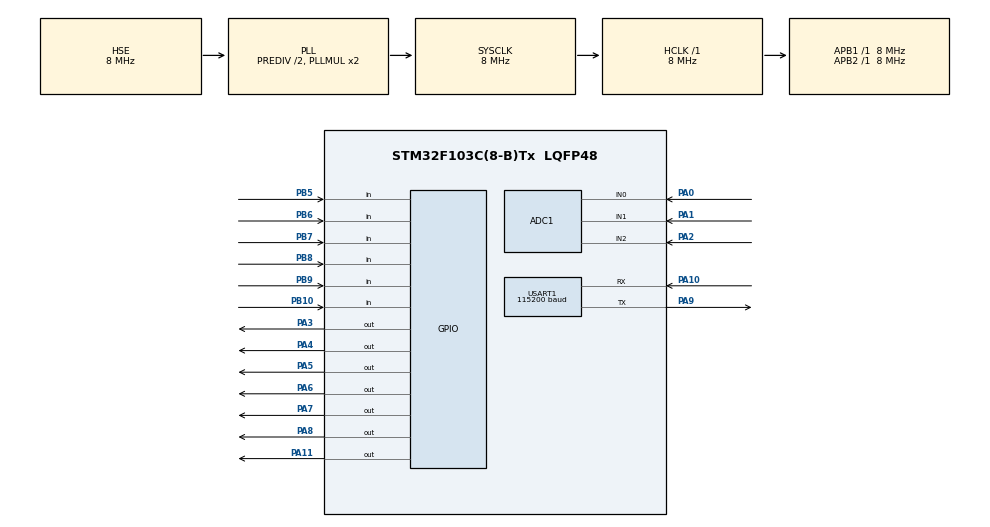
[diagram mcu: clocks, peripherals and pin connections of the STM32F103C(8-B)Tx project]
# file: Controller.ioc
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ADC1.Channel-0\#ChannelRegularConversion=ADC_CHANNEL_0
ADC1.Channel-1\#ChannelRegularConversion=ADC_CHANNEL_1
ADC1.Channel-2\#ChannelRegularConversion=ADC_CHANNEL_2
ADC1.ContinuousConvMode=ENABLE
ADC1.DataAlign=ADC_DATAALIGN_RIGHT
ADC1.DiscontinuousConvMode=DISABLE
ADC1.EnableAnalogWatchDog=false
ADC1.EnableRegularConversion=ENABLE
ADC1.ExternalTrigConv=ADC_SOFTWARE_START
ADC1.InjNumberOfConversion=0
ADC1.NbrOfConversion=3
ADC1.NbrOfConversionFlag=1
ADC1.Rank-0\#ChannelRegularConversion=1
ADC1.Rank-1\#ChannelRegularConversion=2
ADC1.Rank-2\#ChannelRegularConversion=3
ADC1.SamplingTime-0\#ChannelRegularConversion=ADC_SAMPLETIME_239CYCLES_5
ADC1.SamplingTime-1\#ChannelRegularConversion=ADC_SAMPLETIME_239CYCLES_5
ADC1.SamplingTime-2\#ChannelRegularConversion=ADC_SAMPLETIME_239CYCLES_5
ADC1.ScanConvMode=ADC_SCAN_ENABLE
ADC1.master=1
Dma.ADC1.0.Direction=DMA_PERIPH_TO_MEMORY
Dma.ADC1.0.Instance=DMA1_Channel1
Dma.ADC1.0.MemDataAlignment=DMA_MDATAALIGN_WORD
Dma.ADC1.0.MemInc=DMA_MINC_ENABLE
Dma.ADC1.0.Mode=DMA_CIRCULAR
Dma.ADC1.0.PeriphDataAlignment=DMA_PDATAALIGN_WORD
Dma.ADC1.0.PeriphInc=DMA_PINC_DISABLE
Dma.ADC1.0.Priority=DMA_PRIORITY_LOW
Dma.Request0=ADC1
Dma.Request1=USART1_RX
Dma.USART1_RX.1.Direction=DMA_PERIPH_TO_MEMORY
Dma.USART1_RX.1.Instance=DMA1_Channel5
Dma.USART1_RX.1.MemDataAlignment=DMA_MDATAALIGN_BYTE
Dma.USART1_RX.1.MemInc=DMA_MINC_ENABLE
Dma.USART1_RX.1.Mode=DMA_NORMAL
Dma.USART1_RX.1.PeriphDataAlignment=DMA_PDATAALIGN_BYTE
Dma.USART1_RX.1.PeriphInc=DMA_PINC_DISABLE
Dma.USART1_RX.1.Priority=DMA_PRIORITY_LOW
Mcu.Family=STM32F1
Mcu.Name=STM32F103C(8-B)Tx
Mcu.Package=LQFP48
NVIC.ADC1_2_IRQn=true\:0\:0\:false\:false\:true\:true
NVIC.DMA1_Channel1_IRQn=true\:0\:0\:false\:false\:true\:false
NVIC.DMA1_Channel5_IRQn=true\:0\:0\:false\:false\:true\:false
NVIC.PriorityGroup=NVIC_PRIORITYGROUP_4
NVIC.TIM2_IRQn=true\:0\:0\:false\:false\:true\:true
NVIC.USART1_IRQn=true\:0\:0\:false\:false\:true\:true
PA0-WKUP.Signal=ADCx_IN0
PA1.Signal=ADCx_IN1
PA10.Mode=Asynchronous
PA10.Signal=USART1_RX
PA11.Signal=GPIO_Output
PA13.Mode=JTAG_5_pins
PA13.Signal=SYS_JTMS-SWDIO
PA14.Mode=JTAG_5_pins
PA14.Signal=SYS_JTCK-SWCLK
PA15.Mode=JTAG_5_pins
PA15.Signal=SYS_JTDI
PA2.Signal=ADCx_IN2
PA3.Signal=GPIO_Output
PA4.Signal=GPIO_Output
PA5.Signal=GPIO_Output
PA6.Signal=GPIO_Output
PA7.Signal=GPIO_Output
PA8.Signal=GPIO_Output
PA9.Mode=Asynchronous
PA9.Signal=USART1_TX
PB10.Signal=GPIO_Input
PB3.Mode=JTAG_5_pins
PB3.Signal=SYS_JTDO-TRACESWO
PB4.Mode=JTAG_5_pins
PB4.Signal=SYS_NJTRST
PB5.Signal=GPIO_Input
PB6.Signal=GPIO_Input
PB7.Signal=GPIO_Input
PB8.Signal=GPIO_Input
PB9.Signal=GPIO_Input
PD0-OSC_IN.Mode=HSE-External-Oscillator
PD0-OSC_IN.Signal=RCC_OSC_IN
PD1-OSC_OUT.Mode=HSE-External-Oscillator
PD1-OSC_OUT.Signal=RCC_OSC_OUT
ProjectManager.HeapSize=0x200
ProjectManager.StackSize=0x400
ProjectManager.TargetToolchain=MDK-ARM V5
RCC.ADCPresc=RCC_ADCPCLK2_DIV6
RCC.AHBFreq_Value=8000000
RCC.APB1Freq_Value=8000000
RCC.APB1TimFreq_Value=8000000
RCC.APB2Freq_Value=8000000
RCC.APB2TimFreq_Value=8000000
RCC.HCLKFreq_Value=8000000
RCC.HSEDivPLL=RCC_HSE_PREDIV_DIV2
RCC.PLLSourceVirtual=RCC_PLLSOURCE_HSE
RCC.SYSCLKFreq_VALUE=8000000
RCC.SYSCLKSource=RCC_SYSCLKSOURCE_PLLCLK
RCC.USBFreq_Value=8000000
SH.ADCx_IN0.0=ADC1_IN0,IN0
SH.ADCx_IN1.0=ADC1_IN1,IN1
SH.ADCx_IN2.0=ADC1_IN2,IN2
TIM2.AutoReloadPreload=TIM_AUTORELOAD_PRELOAD_ENABLE
TIM2.Period=2828
TIM2.Prescaler=2828
USART1.BaudRate=115200
USART1.VirtualMode=VM_ASYNC
VP_TIM2_VS_ClockSourceINT.Mode=Internal
board=Controller

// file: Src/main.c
/**
  ******************************************************************************
  * File Name          : main.c
  * Description        : Main program body
  ******************************************************************************
  ** This notice applies to any and all portions of this file
  * that are not between comment pairs USER CODE BEGIN and
  * USER CODE END. Other portions of this file, whether
  * inserted by the user or by software development tools
  * are owned by their respective copyright owners.
  *
  * COPYRIGHT(c) 2017 STMicroelectronics
  *
  * Redistribution and use in source and binary forms, with or without modification,
  * are permitted provided that the following conditions are met:
  *   1. Redistributions of source code must retain the above copyright notice,
  *      this list of conditions and the following disclaimer.
  *   2. Redistributions in binary form must reproduce the above copyright notice,
  *      this list of conditions and the following disclaimer in the documentation
  *      and/or other materials provided with the distribution.
  *   3. Neither the name of STMicroelectronics nor the names of its contributors
  *      may be used to endorse or promote products derived from this software
  *      without specific prior written permission.
  *
  * THIS SOFTWARE IS PROVIDED BY THE COPYRIGHT HOLDERS AND CONTRIBUTORS "AS IS"
  * AND ANY EXPRESS OR IMPLIED WARRANTIES, INCLUDING, BUT NOT LIMITED TO, THE
  * IMPLIED WARRANTIES OF MERCHANTABILITY AND FITNESS FOR A PARTICULAR PURPOSE ARE
  * DISCLAIMED. IN NO EVENT SHALL THE COPYRIGHT HOLDER OR CONTRIBUTORS BE LIABLE
  * FOR ANY DIRECT, INDIRECT, INCIDENTAL, SPECIAL, EXEMPLARY, OR CONSEQUENTIAL
  * DAMAGES (INCLUDING, BUT NOT LIMITED TO, PROCUREMENT OF SUBSTITUTE GOODS OR
  * SERVICES; LOSS OF USE, DATA, OR PROFITS; OR BUSINESS INTERRUPTION) HOWEVER
  * CAUSED AND ON ANY THEORY OF LIABILITY, WHETHER IN CONTRACT, STRICT LIABILITY,
  * OR TORT (INCLUDING NEGLIGENCE OR OTHERWISE) ARISING IN ANY WAY OUT OF THE USE
  * OF THIS SOFTWARE, EVEN IF ADVISED OF THE POSSIBILITY OF SUCH DAMAGE.
  *
  ******************************************************************************
  */
#include "main.h"
#include "stm32f1xx_hal.h"

/* USER CODE BEGIN Includes */
#include <stdio.h>
#include <string.h>
#include <stdlib.h>
#include <math.h>
/* USER CODE END Includes */

ADC_HandleTypeDef hadc1;
DMA_HandleTypeDef hdma_adc1;

TIM_HandleTypeDef htim2;

UART_HandleTypeDef huart1;
DMA_HandleTypeDef hdma_usart1_rx;

/* USER CODE BEGIN PV */
/* Private variables ---------------------------------------------------------*/
uint32_t sec_TICK;

Status_HandleTypeDef IO_Status;
timCNT_HandleTypeDef CNT;
Temp_HandleTypeDef Temp;
CNT_Sta_HandleTypeDef
									fan_CNT_Sta,
									tube_CNT_Sta,

									defrost_cyc_CNT_Sta,
									defrost_CNT_Sta,

									drip_CNT_Sta,

									house_temp_H_CNT_Sta,
									house_temp_L_CNT_Sta,

									refri_temp_H_CNT_Sta,
									refri_temp_L_CNT_Sta,

									door_open_del_CNT_Sta,

                  Alarm_Blind_CNT_Sta,

                  SRP_Routine_Sta,
                  Boot_CNT_Sta,
                  Tick_CNT_Sta;

Alarm_Blind_HandleTypeDef CMP;
NTC_HandleTypeDef NTC;

char
      ___house_temp[5],
      ___house_temp_error[5],
      ___house_ALARM_OT_temp[5],
      ___house_ALARM_LT_temp[5],
      ___house_ALARM_OT_temp_delay[5],
      ___house_ALARM_LT_temp_delay[5],
      ___refri_temp[5],
      ___refri_temp_error[5],
      ___refri_ALARM_OT_temp[5],
      ___refri_ALARM_LT_temp[5],
      ___refri_ALARM_OT_temp_delay[5],
      ___refri_ALARM_LT_temp_delay[5],
      ___defrost_cyc[5],
      ___defrost_timer[5],
      ___defrost_temp[5],
      ___refrez_fan_temp[5],
      ___fan_cooling_time[5],
      ___drip_time[5],
      ___tube_cooling_time[5],
      ___boot_delay[5],
      ___door_delay[5],
      ___Beta_of_NTC[5],
      ___EVP_Temp_offset[5],
      ___House_Temp_offset[5],
      ___Refri_Temp_offset[5],
      ___EVP_Percent_offset[5],
      ___House_Percent_offset[5],
      ___Refri_Percent_offset[5];

uint8_t House_Temp_Alarm_Sta;
uint8_t Refri_Temp_Alarm_Sta;

uint16_t tick;
uint32_t ADC_Buf[6];  //For ADC DMA

unsigned char _null[3]={255,255,255};
unsigned char req_message[10]="rept 0,420";

#define cmd_end HAL_UART_Transmit(&huart1, _null, 3, 0xff)
#define cmd_all_rept HAL_UART_Transmit(&huart1, req_message, 10, 0xff)
/* USER CODE END PV */

void SystemClock_Config(void);
static void MX_GPIO_Init(void);
static void MX_DMA_Init(void);
static void MX_USART1_UART_Init(void);
static void MX_ADC1_Init(void);
static void MX_TIM2_Init(void);

/* USER CODE BEGIN PFP */
/* Private function prototypes -----------------------------------------------*/
void ADC_Read_Data(void);
void Temp_Alarm_CHK_Routine(void);
void IO_CHK_Routine(void);
void CMP_CHK_Routine(void); //Always run after "IO_CHK_Routine()"
void Alarm_CHK_Routine(void);
void Refri_CHK_Routine(void);
void SRP_CHK_Routine(void);
void Get_Data(uint16_t addr);
void UART_Get_All(void);
void UART_Send_Data(void);
/* USER CODE END PFP */

int main(void)
{

  /* MCU Configuration----------------------------------------------------------*/

  /* Reset of all peripherals, Initializes the Flash interface and the Systick. */
  HAL_Init();

  /* Configure the system clock */
  SystemClock_Config();

  /* Initialize all configured peripherals */
  MX_GPIO_Init();
  MX_DMA_Init();
  MX_USART1_UART_Init();
  MX_ADC1_Init();
  MX_TIM2_Init();

  /* USER CODE BEGIN 2 */
  Boot_CNT_Sta=idle;
  door_open_del_CNT_Sta=idle;
  SRP_Routine_Sta=idle; //Reset SRP switch
	fan_CNT_Sta=idle;
  defrost_cyc_CNT_Sta=idle;
  defrost_CNT_Sta=idle;
  drip_CNT_Sta=idle;
	tube_CNT_Sta=idle;
  Alarm_Blind_CNT_Sta=idle;
  house_temp_H_CNT_Sta=idle;
  house_temp_L_CNT_Sta=idle;
  refri_temp_H_CNT_Sta=idle;
  refri_temp_L_CNT_Sta=idle;
  Tick_CNT_Sta=idle;
  CMP._cmpsta=off;
  House_Temp_Alarm_Sta=Not_Trig;
  House_Temp_Alarm_Sta=Not_Trig;
  /****************Reserved for boot delay**********************/
  HAL_TIM_Base_Start_IT(&htim2);
	UART_Get_All();
  Get_Data(boot_delay);
  if(CNT.boot_del_CNT_TRIG!=0){
    Boot_CNT_Sta=running;
    while(Boot_CNT_Sta==running){
      HAL_Delay(10);
      ;
    }
  }
  UART_Get_All();
  Tick_CNT_Sta=running;
  /* USER CODE END 2 */

  /* Infinite loop */
  while (1)
  {

  /* USER CODE BEGIN 3 */
    if(Tick_CNT_Sta==End_Once){
      UART_Get_All();
      Tick_CNT_Sta=running;
			UART_Send_Data();
    }
    ADC_Read_Data();
    IO_CHK_Routine();       //DO NOT EDIT
    Temp_Alarm_CHK_Routine();
    CMP_CHK_Routine();
    Refri_CHK_Routine();
    SRP_CHK_Routine();
		Alarm_CHK_Routine();
	}

  /* USER CODE END 3 */

}

/** System Clock Configuration
*/
void SystemClock_Config(void)
{

  RCC_OscInitTypeDef RCC_OscInitStruct;
  RCC_ClkInitTypeDef RCC_ClkInitStruct;
  RCC_PeriphCLKInitTypeDef PeriphClkInit;

    /**Initializes the CPU, AHB and APB busses clocks
    */
  RCC_OscInitStruct.OscillatorType = RCC_OSCILLATORTYPE_HSE;
  RCC_OscInitStruct.HSEState = RCC_HSE_ON;
  RCC_OscInitStruct.HSEPredivValue = RCC_HSE_PREDIV_DIV2;
  RCC_OscInitStruct.HSIState = RCC_HSI_ON;
  RCC_OscInitStruct.PLL.PLLState = RCC_PLL_ON;
  RCC_OscInitStruct.PLL.PLLSource = RCC_PLLSOURCE_HSE;
  RCC_OscInitStruct.PLL.PLLMUL = RCC_PLL_MUL2;
  if (HAL_RCC_OscConfig(&RCC_OscInitStruct) != HAL_OK)
  {
    _Error_Handler(__FILE__, __LINE__);
  }

    /**Initializes the CPU, AHB and APB busses clocks
    */
  RCC_ClkInitStruct.ClockType = RCC_CLOCKTYPE_HCLK|RCC_CLOCKTYPE_SYSCLK
                              |RCC_CLOCKTYPE_PCLK1|RCC_CLOCKTYPE_PCLK2;
  RCC_ClkInitStruct.SYSCLKSource = RCC_SYSCLKSOURCE_PLLCLK;
  RCC_ClkInitStruct.AHBCLKDivider = RCC_SYSCLK_DIV1;
  RCC_ClkInitStruct.APB1CLKDivider = RCC_HCLK_DIV1;
  RCC_ClkInitStruct.APB2CLKDivider = RCC_HCLK_DIV1;

  if (HAL_RCC_ClockConfig(&RCC_ClkInitStruct, FLASH_LATENCY_0) != HAL_OK)
  {
    _Error_Handler(__FILE__, __LINE__);
  }

  PeriphClkInit.PeriphClockSelection = RCC_PERIPHCLK_ADC;
  PeriphClkInit.AdcClockSelection = RCC_ADCPCLK2_DIV6;
  if (HAL_RCCEx_PeriphCLKConfig(&PeriphClkInit) != HAL_OK)
  {
    _Error_Handler(__FILE__, __LINE__);
  }

    /**Configure the Systick interrupt time
    */
  HAL_SYSTICK_Config(HAL_RCC_GetHCLKFreq()/1000);

    /**Configure the Systick
    */
  HAL_SYSTICK_CLKSourceConfig(SYSTICK_CLKSOURCE_HCLK);

  /* SysTick_IRQn interrupt configuration */
  HAL_NVIC_SetPriority(SysTick_IRQn, 0, 0);
}

/* ADC1 init function */
static void MX_ADC1_Init(void)
{

  ADC_ChannelConfTypeDef sConfig;

    /**Common config
    */
  hadc1.Instance = ADC1;
  hadc1.Init.ScanConvMode = ADC_SCAN_ENABLE;
  hadc1.Init.ContinuousConvMode = ENABLE;
  hadc1.Init.DiscontinuousConvMode = DISABLE;
  hadc1.Init.ExternalTrigConv = ADC_SOFTWARE_START;
  hadc1.Init.DataAlign = ADC_DATAALIGN_RIGHT;
  hadc1.Init.NbrOfConversion = 3;
  if (HAL_ADC_Init(&hadc1) != HAL_OK)
  {
    _Error_Handler(__FILE__, __LINE__);
  }

    /**Configure Regular Channel
    */
  sConfig.Channel = ADC_CHANNEL_0;
  sConfig.Rank = 1;
  sConfig.SamplingTime = ADC_SAMPLETIME_239CYCLES_5;
  if (HAL_ADC_ConfigChannel(&hadc1, &sConfig) != HAL_OK)
  {
    _Error_Handler(__FILE__, __LINE__);
  }

    /**Configure Regular Channel
    */
  sConfig.Channel = ADC_CHANNEL_1;
  sConfig.Rank = 2;
  if (HAL_ADC_ConfigChannel(&hadc1, &sConfig) != HAL_OK)
  {
    _Error_Handler(__FILE__, __LINE__);
  }

    /**Configure Regular Channel
    */
  sConfig.Channel = ADC_CHANNEL_2;
  sConfig.Rank = 3;
  if (HAL_ADC_ConfigChannel(&hadc1, &sConfig) != HAL_OK)
  {
    _Error_Handler(__FILE__, __LINE__);
  }

}

/* TIM2 init function */
static void MX_TIM2_Init(void)
{

  TIM_ClockConfigTypeDef sClockSourceConfig;
  TIM_MasterConfigTypeDef sMasterConfig;

  htim2.Instance = TIM2;
  htim2.Init.Prescaler = 2828;
  htim2.Init.CounterMode = TIM_COUNTERMODE_UP;
  htim2.Init.Period = 2828;
  htim2.Init.ClockDivision = TIM_CLOCKDIVISION_DIV1;
  htim2.Init.AutoReloadPreload = TIM_AUTORELOAD_PRELOAD_ENABLE;
  if (HAL_TIM_Base_Init(&htim2) != HAL_OK)
  {
    _Error_Handler(__FILE__, __LINE__);
  }

  sClockSourceConfig.ClockSource = TIM_CLOCKSOURCE_INTERNAL;
  if (HAL_TIM_ConfigClockSource(&htim2, &sClockSourceConfig) != HAL_OK)
  {
    _Error_Handler(__FILE__, __LINE__);
  }

  sMasterConfig.MasterOutputTrigger = TIM_TRGO_RESET;
  sMasterConfig.MasterSlaveMode = TIM_MASTERSLAVEMODE_DISABLE;
  if (HAL_TIMEx_MasterConfigSynchronization(&htim2, &sMasterConfig) != HAL_OK)
  {
    _Error_Handler(__FILE__, __LINE__);
  }

}

/* USART1 init function */
static void MX_USART1_UART_Init(void)
{

  huart1.Instance = USART1;
  huart1.Init.BaudRate = 9600;
  huart1.Init.WordLength = UART_WORDLENGTH_8B;
  huart1.Init.StopBits = UART_STOPBITS_1;
  huart1.Init.Parity = UART_PARITY_NONE;
  huart1.Init.Mode = UART_MODE_TX_RX;
  huart1.Init.HwFlowCtl = UART_HWCONTROL_NONE;
  huart1.Init.OverSampling = UART_OVERSAMPLING_16;
  if (HAL_UART_Init(&huart1) != HAL_OK)
  {
    _Error_Handler(__FILE__, __LINE__);
  }

}

static void MX_DMA_Init(void)
{
  /* DMA controller clock enable */
  __HAL_RCC_DMA1_CLK_ENABLE();

  /* DMA interrupt init */
  /* DMA1_Channel1_IRQn interrupt configuration */
  HAL_NVIC_SetPriority(DMA1_Channel1_IRQn, 0, 0);
  HAL_NVIC_EnableIRQ(DMA1_Channel1_IRQn);
  /* DMA1_Channel5_IRQn interrupt configuration */
  HAL_NVIC_SetPriority(DMA1_Channel5_IRQn, 0, 0);
  HAL_NVIC_EnableIRQ(DMA1_Channel5_IRQn);

}

/** Configure pins as
        * Analog
        * Input
        * Output
        * EVENT_OUT
        * EXTI
*/
static void MX_GPIO_Init(void)
{

  GPIO_InitTypeDef GPIO_InitStruct;

  /* GPIO Ports Clock Enable */
  __HAL_RCC_GPIOD_CLK_ENABLE();
  __HAL_RCC_GPIOA_CLK_ENABLE();
  __HAL_RCC_GPIOB_CLK_ENABLE();

  /*Configure GPIO pin Output Level */
  HAL_GPIO_WritePin(GPIOA, GPIO_PIN_3|GPIO_PIN_4|GPIO_PIN_5|GPIO_PIN_6
                          |GPIO_PIN_7|GPIO_PIN_8|GPIO_PIN_11, GPIO_PIN_RESET);

  /*Configure GPIO pins : PA3 PA4 PA5 PA6
                           PA7 PA8 PA11 */
  GPIO_InitStruct.Pin = GPIO_PIN_3|GPIO_PIN_4|GPIO_PIN_5|GPIO_PIN_6
                          |GPIO_PIN_7|GPIO_PIN_8|GPIO_PIN_11;
  GPIO_InitStruct.Mode = GPIO_MODE_OUTPUT_PP;
  GPIO_InitStruct.Speed = GPIO_SPEED_FREQ_LOW;
  HAL_GPIO_Init(GPIOA, &GPIO_InitStruct);

  /*Configure GPIO pins : PB10 PB5 PB6 PB7
                           PB8 PB9 */
  GPIO_InitStruct.Pin = GPIO_PIN_10|GPIO_PIN_5|GPIO_PIN_6|GPIO_PIN_7
                          |GPIO_PIN_8|GPIO_PIN_9;
  GPIO_InitStruct.Mode = GPIO_MODE_INPUT;
  GPIO_InitStruct.Pull = GPIO_NOPULL;
  HAL_GPIO_Init(GPIOB, &GPIO_InitStruct);

}

/* USER CODE BEGIN 4 */
void IO_CHK_Routine(void){

  IO_Status.SRP_Swt=GPIO_B(GPIO_PIN_5);     //SRP ?��?��
  IO_Status.Comp_OVP=GPIO_B(GPIO_PIN_6);    //??��?? ?��?��
  IO_Status.LV=GPIO_B(GPIO_PIN_7);          //低�?? ?��?��
  IO_Status.HV=GPIO_B(GPIO_PIN_8);          //高�?? ?��?��
  IO_Status.Oil=GPIO_B(GPIO_PIN_9);         //油�?? ?��?��
  IO_Status.Door=GPIO_B(GPIO_PIN_10);       //?? ?��?��****

  if(IO_Status.Door==1){
    if(IO_Status._Door==opened){
      //Before counter start, read the data from Panel.
      //*****Reserve for read the data*****
      //
      Get_Data(door_delay);
      CNT.door_open_del_CNT=0;
      door_open_del_CNT_Sta=running;
    }
    IO_Status._Door=closed;
  }
  else if(IO_Status.Door==0){
    CNT.door_open_del_CNT=0;
    door_open_del_CNT_Sta=idle;
    IO_Status._Door=opened;
  }

}

void CMP_CHK_Routine(void){
  Get_Data(house_temp);
  Get_Data(house_temp_error);

  uint8_t alarm_sta;
  alarm_sta=IO_Status.Comp_OVP&&IO_Status.LV&&IO_Status.HV&&IO_Status.Oil;

  //Temporary

  static uint8_t house_temp_cmp_sta;
  if(Temp.Read_House_Temp_int<Temp.house_temp_int){
    house_temp_cmp_sta=0; //0 = turn off comp
  }else if(Temp.Read_House_Temp_int>=(Temp.house_temp_int+Temp.house_temp_error_int)){
    house_temp_cmp_sta=1; //1 = turn on comp
  }

	//SRP sta CHK
  uint8_t defrost_drip_cmp_sta;
  if((defrost_CNT_Sta==running)||(drip_CNT_Sta==running)){
    defrost_drip_cmp_sta=0; //0 = turn off comp
  }else{
    defrost_drip_cmp_sta=1; //1 = turn on comp
  }

  if(   (alarm_sta||(Alarm_Blind_CNT_Sta==running))	&& \
        house_temp_cmp_sta                       		&& \
        door_open_del_CNT_Sta==idle              		&& \
        defrost_drip_cmp_sta                        && \
        IO_Status.Door==1){
    if(CMP._cmpsta==off){
      CNT.cmp_alarm_blind_CNT_TRIG=5; //5 seconds
      Alarm_Blind_CNT_Sta=running;
      A8_H;
      CMP._cmpsta=on;
    }

  }else{
    A8_L;
    CMP._cmpsta=off;
  }

}

void Refri_CHK_Routine(void){

  Get_Data(refri_temp);
  Get_Data(refri_temp_error);
  if(Temp.Read_Refri_Temp_int >= Temp.refri_temp_int){
    A6_H;
  }else if(Temp.Read_Refri_Temp_int < (Temp.refri_temp_int+Temp.refri_temp_error_int)){
    A6_L;
  }

}

void SRP_CHK_Routine(void){

  if(SRP_Routine_Sta==idle){

    if(GPIO_B(GPIO_PIN_5)){        //Y
      CNT.fan_CNT=0;
      CNT.defrost_cyc_CNT=0;
      CNT.defrost_CNT=0;
      CNT.drip_CNT=0;

      fan_CNT_Sta=idle;
      defrost_cyc_CNT_Sta=idle;
      defrost_CNT_Sta=idle;
      drip_CNT_Sta=idle;

      SRP_Routine_Sta=running_Fan;

      Get_Data(refrez_fan_temp);    //Get refrez fan temp
      Get_Data(defrost_temp);       //Get defrost temp

      Get_Data(fan_cooling_time);  //Read trigger data from the panel
      Get_Data(defrost_cyc);
      Get_Data(defrost_timer);
      Get_Data(drip_time);

			HAL_Delay(100);

      defrost_cyc_CNT_Sta=running;  //Start timer counter
      fan_CNT_Sta=running;

    }else if(!GPIO_B(GPIO_PIN_5)){ //N
      CNT.tube_CNT=0;

      tube_CNT_Sta=idle;

      SRP_Routine_Sta=running_Tube;

      Get_Data(tube_cooling_time);

      A3_H;
      tube_CNT_Sta=running;
    }
  }

  if(SRP_Routine_Sta==running_Fan){

    if(fan_CNT_Sta==running){
      A4_H;
      if(Temp.Read_EVAP_Temp_int>=Temp.refrez_temp_int){
				A7_L;
      }else{
        A7_H;
      }
    }else{
      A4_L;
			A7_L;
    }

		if(defrost_cyc_CNT_Sta==End_Once){
			if(defrost_CNT_Sta==End_Once||Temp.Read_EVAP_Temp_int>=Temp.defrost_temp_int){
        A11_L;

        defrost_CNT_Sta=End_Once;
        CNT.defrost_CNT=0;

				drip_CNT_Sta=running;
			}
    }

  }

}

void ADC_Read_Data(void){
  Get_Data(Beta_of_NTC);
  Get_Data(EVP_Temp_offset);
  Get_Data(House_Temp_offset);
  Get_Data(Refri_Temp_offset);
  Get_Data(EVP_Percent_offset);
  Get_Data(House_Percent_offset);
  Get_Data(Refri_Percent_offset);
  HAL_ADC_Start_DMA(&hadc1, ADC_Buf, 6);
  HAL_ADC_Start(&hadc1);
}

void Get_Data(uint16_t addr){
  /*
  uint8_t len;
  if(addr<10){
    len=1;
  }else if(addr>10&&addr<100){
    len=2;
  }else if(addr>=100){
    len=3;
  }

  uint8_t addr_buf[5];
	sprintf((char*)addr_buf,"%d",addr);

	cmd_rept;
  HAL_UART_Transmit(&huart1, addr_buf, len, 0xff);
	cmd_leng;
  cmd_end;

  uint8_t receive_buf[5];
  HAL_UART_Receive(&huart1, receive_buf,15, 0xff);
  */
  if(addr==house_temp){
    Temp.house_temp_flt=atof((char*)___house_temp);
    Temp.house_temp_int=(int16_t)(Temp.house_temp_flt*(float)10.0);
  }else if(addr==house_temp_error){
    Temp.house_temp_error_flt=atof((char*)___house_temp_error);
    Temp.house_temp_error_int=(int16_t)(Temp.house_temp_error_flt*(float)10.0);
  }else if(addr==house_ALARM_OT_temp){
    Temp.house_alarm_OT_flt=atof((char*)___house_ALARM_OT_temp);
    Temp.house_alarm_OT_int=(int16_t)(Temp.house_alarm_OT_flt*(float)10.0);
  }else if(addr==house_ALARM_LT_temp){
    Temp.house_alarm_LT_flt=atof((char*)___house_ALARM_LT_temp);
    Temp.house_alarm_LT_int=(int16_t)(Temp.house_alarm_LT_flt*(float)10.0);
  }else if(addr==house_ALARM_OT_temp_delay){
    CNT.house_temp_H_CNT_TRIG=atol((char*)___house_ALARM_OT_temp_delay)*60;
  }else if(addr==house_ALARM_LT_temp_delay){
    CNT.house_temp_L_CNT_TRIG=atol((char*)___house_ALARM_LT_temp_delay)*60;
  }else if(addr==refri_temp){
    Temp.refri_temp_flt=atof((char*)___refri_temp);
    Temp.refri_temp_int=(int16_t)(Temp.refri_temp_flt*(float)10.0);
  }else if(addr==refri_temp_error){
    Temp.refri_temp_error_flt=atof((char*)___refri_temp_error);
    Temp.refri_temp_error_int=(int16_t)(Temp.refri_temp_error_flt*(float)10.0);
  }else if(addr==refri_ALARM_OT_temp){
    Temp.refri_alarm_OT_flt=atof((char*)___refri_ALARM_OT_temp);
    Temp.refri_alarm_OT_int=(int16_t)(Temp.refri_alarm_OT_flt*(float)10.0);
  }else if(addr==refri_ALARM_LT_temp){
    Temp.refri_alarm_LT_flt=atof((char*)___refri_ALARM_LT_temp);
    Temp.refri_alarm_LT_int=(int16_t)(Temp.refri_alarm_LT_flt*(float)10.0);
  }else if(addr==refri_ALARM_OT_temp_delay){
    CNT.refri_temp_H_CNT_TRIG=atol((char*)___refri_ALARM_OT_temp_delay)*60;
  }else if(addr==refri_ALARM_LT_temp_delay){
    CNT.refri_temp_L_CNT_TRIG=atol((char*)___refri_ALARM_LT_temp_delay)*60;
  }else if(addr==defrost_cyc){
    CNT.defrost_cyc_CNT_TRIG=atol((char*)___defrost_cyc)*60;
  }else if(addr==defrost_timer){
    CNT.defrost_CNT_TRIG=atol((char*)___defrost_timer)*60;
  }else if(addr==defrost_temp){
    Temp.defrost_temp_flt=atof((char*)___defrost_temp);
    Temp.defrost_temp_int=(int16_t)(Temp.defrost_temp_flt*(float)10.0);
  }else if(addr==refrez_fan_temp){
    Temp.refrez_temp_flt=atof((char*)___refrez_fan_temp);
    Temp.refrez_temp_int=(int16_t)(Temp.refrez_temp_flt*(float)10.0);
  }else if(addr==fan_cooling_time){
    CNT.fan_CNT_TRIG=atol((char*)___fan_cooling_time)*60;
  }else if(addr==drip_time){
    CNT.drip_CNT_TRIG=atol((char*)___drip_time)*60;
  }else if(addr==tube_cooling_time){
    CNT.tube_CNT_TRIG=atol((char*)___tube_cooling_time)*60;
  }else if(addr==boot_delay){
    CNT.boot_del_CNT_TRIG=atol((char*)___boot_delay)*60;
  }else if(addr==door_delay){
    CNT.door_open_del_CNT_TRIG=atol((char*)___door_delay)*60;
  }else if(addr==Beta_of_NTC){
    NTC.Beta=atol((char*)___Beta_of_NTC);
  }else if(addr==EVP_Temp_offset){
    NTC.EVP_Temp_offset_flt=atof((char*)___EVP_Temp_offset);
    NTC.EVP_Temp_offset_int=(int16_t)(NTC.EVP_Temp_offset_flt*(float)10.0);
  }else if(addr==House_Temp_offset){
    NTC.House_Temp_offset_flt=atof((char*)___House_Temp_offset);
    NTC.House_Temp_offset_int=(int16_t)(NTC.House_Temp_offset_flt*(float)10.0);
  }else if(addr==Refri_Temp_offset){
    NTC.Refri_Temp_offset_flt=atof((char*)___Refri_Temp_offset);
    NTC.Refri_Temp_offset_int=(int16_t)(NTC.Refri_Temp_offset_flt*(float)10.0);
  }else if(addr==EVP_Percent_offset){
    NTC.EVP_Percent_offset_flt=atof((char*)___EVP_Percent_offset)/(float)100.0;
  }else if(addr==House_Percent_offset){
    NTC.House_Percent_offset_flt=atof((char*)___House_Percent_offset)/(float)100.0;
  }else if(addr==Refri_Percent_offset){
    NTC.Refri_Percent_offset_flt=atof((char*)___Refri_Percent_offset)/(float)100.0;
  }

}

void Temp_Alarm_CHK_Routine(void){

  static uint8_t  house_alarm_sta,
                  refri_alarm_sta;

  Get_Data(house_ALARM_OT_temp);
  Get_Data(house_ALARM_LT_temp);
  Get_Data(refri_ALARM_OT_temp);
  Get_Data(refri_ALARM_LT_temp);

  if(Temp.Read_House_Temp_int>=Temp.house_alarm_OT_int){
    if(house_alarm_sta!=over){
      CNT.house_temp_L_CNT=0;
      house_temp_L_CNT_Sta=idle;

      Get_Data(house_ALARM_OT_temp_delay);
      CNT.house_temp_H_CNT=0;
      house_temp_H_CNT_Sta=running;
    }
    house_alarm_sta=over;
  }else if(Temp.Read_House_Temp_int<Temp.house_alarm_LT_int){
    if(house_alarm_sta!=lower){
      CNT.house_temp_H_CNT=0;
      house_temp_H_CNT_Sta=idle;

      Get_Data(house_ALARM_LT_temp_delay);
      CNT.house_temp_L_CNT=0;
      house_temp_L_CNT_Sta=running;
    }
    house_alarm_sta=lower;
  }else{
    CNT.house_temp_H_CNT=0;
    CNT.house_temp_L_CNT=0;
    house_temp_H_CNT_Sta=idle;
    house_temp_L_CNT_Sta=idle;
    house_alarm_sta=norm;

    House_Temp_Alarm_Sta=Not_Trig;
  }

  if(Temp.Read_Refri_Temp_int>=Temp.refri_alarm_OT_int){
    if(refri_alarm_sta!=over){
      CNT.refri_temp_L_CNT=0;
      refri_temp_L_CNT_Sta=idle;

      Get_Data(refri_ALARM_OT_temp_delay);
      CNT.refri_temp_H_CNT=0;
      refri_temp_H_CNT_Sta=running;
    }
    refri_alarm_sta=over;
  }else if(Temp.Read_Refri_Temp_int<Temp.refri_alarm_LT_int){
    if(refri_alarm_sta!=lower){
      CNT.refri_temp_H_CNT=0;
      refri_temp_H_CNT_Sta=idle;

      Get_Data(refri_ALARM_LT_temp_delay);
      CNT.refri_temp_L_CNT=0;
      refri_temp_L_CNT_Sta=running;
    }
    refri_alarm_sta=lower;
  }else{
    CNT.refri_temp_H_CNT=0;
    CNT.refri_temp_L_CNT=0;
    refri_temp_H_CNT_Sta=idle;
    refri_temp_L_CNT_Sta=idle;
    refri_alarm_sta=norm;

    Refri_Temp_Alarm_Sta=Not_Trig;
  }

}

void Alarm_CHK_Routine(void){
  uint8_t alarm_sta;
  alarm_sta=IO_Status.HV&&\
						IO_Status.LV&&\
            IO_Status.Oil&&\
            IO_Status.Comp_OVP&&\
            House_Temp_Alarm_Sta!=Trig&&\
            Refri_Temp_Alarm_Sta!=Trig;
	if(!alarm_sta){
		A5_H;
	}else{
		A5_L;
	}
}

void HAL_ADC_ConvCpltCallback(ADC_HandleTypeDef* hadc)
{
  /* Prevent unused argument(s) compilation warning */
  UNUSED(hadc);
  /* NOTE : This function should not be modified. When the callback is needed,
            function HAL_ADC_ConvCpltCallback must be implemented in the user file.
   */
  if(hadc->Instance==hadc1.Instance){

    uint32_t ch[6];
    float ch1_val,ch2_val,ch3_val;
    float ch1_volt,ch2_volt,ch3_volt;

    float ch1_Up_R_Volt,ch2_Up_R_Volt,ch3_Up_R_Volt;
    float ch1_I,ch2_I,ch3_I;

    float ch1_R,ch2_R,ch3_R;

    float ch1_temp,ch2_temp,ch3_temp;

    ch[0]=ADC_Buf[0];
    ch[1]=ADC_Buf[1];
    ch[2]=ADC_Buf[2];
		ch[3]=ADC_Buf[3];
		ch[4]=ADC_Buf[4];
		ch[5]=ADC_Buf[5];

		HAL_ADC_Stop_DMA(&hadc1);
		HAL_ADC_Stop(&hadc1);

		ch1_val=((float)(ch[0]+ch[3])/(float)2.0);
		ch2_val=((float)(ch[1]+ch[4])/(float)2.0);
    ch3_val=((float)(ch[2]+ch[5])/(float)2.0);

    ch1_volt=(ch1_val/(float)4095)*(float)3.3;
    ch2_volt=(ch2_val/(float)4095)*(float)3.3;
    ch3_volt=(ch3_val/(float)4095)*(float)3.3;

    ch1_Up_R_Volt=(float)3.3-ch1_volt;
    ch2_Up_R_Volt=(float)3.3-ch2_volt;
    ch3_Up_R_Volt=(float)3.3-ch3_volt;

    ch1_I=(ch1_Up_R_Volt/(float)1000.0)*NTC.Refri_Percent_offset_flt;
    ch2_I=(ch2_Up_R_Volt/(float)10000.0)*NTC.EVP_Percent_offset_flt;
    ch3_I=(ch3_Up_R_Volt/(float)10000.0)*NTC.House_Percent_offset_flt;

    ch1_R=ch1_volt/ch1_I;
    ch2_R=ch2_volt/ch2_I;
    ch3_R=ch3_volt/ch3_I;

    ch1_temp = ((float)NTC.Beta/((log(ch1_R/(float)10000.0))+(NTC.Beta/(float)298.15)))-(float)273.15;
    ch2_temp = ((float)NTC.Beta/((log(ch2_R/(float)10000.0))+(NTC.Beta/(float)298.15)))-(float)273.15;
    ch3_temp = ((float)NTC.Beta/((log(ch3_R/(float)10000.0))+(NTC.Beta/(float)298.15)))-(float)273.15;

    ch1_temp=(int16_t)(ch1_temp*(float)10.0);
    Temp.Read_Refri_Temp_int=(int16_t)ch1_temp+(NTC.Refri_Temp_offset_int);
    Temp.Read_Refri_Temp_flt=(float)Temp.Read_Refri_Temp_int/(float)10.0;

    ch2_temp=(int16_t)(ch2_temp*(float)10.0);
    Temp.Read_EVAP_Temp_int=(int16_t)ch2_temp+(NTC.Refri_Temp_offset_int);
    Temp.Read_EVAP_Temp_flt=(float)Temp.Read_EVAP_Temp_int/(float)10.0;

    ch3_temp=(int16_t)(ch3_temp*(float)10.0);
    Temp.Read_House_Temp_int=(int16_t)ch3_temp+(NTC.Refri_Temp_offset_int);
		Temp.Read_House_Temp_flt=(float)Temp.Read_House_Temp_int/(float)10.0;
  }
}

void UART_Get_All(void){
  uint8_t rec_buf[420];

  cmd_all_rept;
  cmd_end;

  HAL_UART_Receive(&huart1, rec_buf,420, 2000);

  char parsing_buf[140];
  for(uint8_t i;i<28;i++){
    parsing_buf[i*5]=rec_buf[i*15];
    parsing_buf[i*5+1]=rec_buf[i*15+1];
    parsing_buf[i*5+2]=rec_buf[i*15+2];
    parsing_buf[i*5+3]=rec_buf[i*15+3];
    parsing_buf[i*5+4]=rec_buf[i*15+4];
  }

		memcpy(&___house_temp, &parsing_buf[0], 5);
    memcpy(&___house_temp_error,&parsing_buf[5],5);
    memcpy(&___house_ALARM_OT_temp,&parsing_buf[10],5);
    memcpy(&___house_ALARM_LT_temp,&parsing_buf[15],5);
    memcpy(&___house_ALARM_OT_temp_delay,&parsing_buf[20],5);
    memcpy(&___house_ALARM_LT_temp_delay,&parsing_buf[25],5);
    memcpy(&___refri_temp,&parsing_buf[30],5);
    memcpy(&___refri_temp_error,&parsing_buf[35],5);
    memcpy(&___refri_ALARM_OT_temp,&parsing_buf[40],5);
    memcpy(&___refri_ALARM_LT_temp,&parsing_buf[45],5);
    memcpy(&___refri_ALARM_OT_temp_delay,&parsing_buf[50],5);
    memcpy(&___refri_ALARM_LT_temp_delay,&parsing_buf[55],5);
    memcpy(&___defrost_cyc,&parsing_buf[60],5);
    memcpy(&___defrost_timer,&parsing_buf[65],5);
    memcpy(&___defrost_temp,&parsing_buf[70],5);
    memcpy(&___refrez_fan_temp,&parsing_buf[75],5);
    memcpy(&___fan_cooling_time,&parsing_buf[80],5);
    memcpy(&___drip_time,&parsing_buf[85],5);
    memcpy(&___tube_cooling_time,&parsing_buf[90],5);
    memcpy(&___boot_delay,&parsing_buf[95],5);
    memcpy(&___door_delay,&parsing_buf[100],5);
    memcpy(&___Beta_of_NTC,&parsing_buf[105],5);
    memcpy(&___EVP_Temp_offset,&parsing_buf[110],5);
    memcpy(&___House_Temp_offset,&parsing_buf[115],5);
    memcpy(&___Refri_Temp_offset,&parsing_buf[120],5);
    memcpy(&___EVP_Percent_offset,&parsing_buf[125],5);
    memcpy(&___House_Percent_offset,&parsing_buf[130],5);
    memcpy(&___Refri_Percent_offset,&parsing_buf[135],5);

}

void UART_Send_Data(void){
  char delimiter='"';

  unsigned char House_temp_buf[18];
  unsigned char EVP_temp_buf[18];
  unsigned char Refri_temp_buf[18];

  uint8_t hou_buf_length;
  if(Temp.Read_House_Temp_flt>0){
    hou_buf_length=17;
  }else{
    hou_buf_length=18;
  }

  sprintf((char*)House_temp_buf,"sta.t3.txt=%c%.1f%c", delimiter, (Temp.Read_House_Temp_flt), delimiter);
  HAL_UART_Transmit(&huart1, House_temp_buf, hou_buf_length,0xffff);
  cmd_end;

  uint8_t eva_buf_length;
  if(Temp.Read_EVAP_Temp_flt>0){
    eva_buf_length=17;
  }else{
    eva_buf_length=18;
  }

  sprintf((char*)EVP_temp_buf,"sta.t4.txt=%c%.1f%c", delimiter, (Temp.Read_EVAP_Temp_flt), delimiter);
  HAL_UART_Transmit(&huart1, EVP_temp_buf, eva_buf_length,0xffff);
  cmd_end;

  uint8_t refri_buf_length;
  if(Temp.Read_Refri_Temp_flt>0){
    refri_buf_length=17;
  }else{
    refri_buf_length=18;
  }

  sprintf((char*)Refri_temp_buf,"sta.t5.txt=%c%.1f%c", delimiter, (Temp.Read_Refri_Temp_flt), delimiter);
  HAL_UART_Transmit(&huart1, Refri_temp_buf, refri_buf_length,0xffff);
  cmd_end;

  uint8_t oil_buf[16], hv_buf[16], lv_buf[16], comp_ovp[16];
  uint8_t tub_buf[16], fan_buf[16], alarm_buf[16], refri_buf[16], refrez_buf[16], comp_buf[16], defrost_buf[17];

  sprintf((char*)oil_buf, "sta.va0.txt=%c%i%c", delimiter, IO_Status.Oil, delimiter);
  sprintf((char*)hv_buf, "sta.va1.txt=%c%i%c", delimiter, IO_Status.HV, delimiter);
  sprintf((char*)lv_buf, "sta.va2.txt=%c%i%c", delimiter, IO_Status.LV, delimiter);
  sprintf((char*)comp_ovp, "sta.va3.txt=%c%i%c", delimiter, IO_Status.Comp_OVP, delimiter);

  sprintf((char*)tub_buf,"sta.va4.txt=%c%i%c",delimiter,HAL_GPIO_ReadPin(GPIOA, GPIO_PIN_3),delimiter);
  sprintf((char*)fan_buf,"sta.va5.txt=%c%i%c",delimiter,HAL_GPIO_ReadPin(GPIOA, GPIO_PIN_4),delimiter);
  sprintf((char*)alarm_buf,"sta.va6.txt=%c%i%c",delimiter,HAL_GPIO_ReadPin(GPIOA, GPIO_PIN_5),delimiter);
  sprintf((char*)refri_buf,"sta.va7.txt=%c%i%c",delimiter,HAL_GPIO_ReadPin(GPIOA, GPIO_PIN_6),delimiter);
  sprintf((char*)refrez_buf,"sta.va8.txt=%c%i%c",delimiter,HAL_GPIO_ReadPin(GPIOA, GPIO_PIN_7),delimiter);
  sprintf((char*)comp_buf,"sta.va9.txt=%c%i%c",delimiter,HAL_GPIO_ReadPin(GPIOA, GPIO_PIN_8),delimiter);
  sprintf((char*)defrost_buf,"sta.va10.txt=%c%i%c",delimiter,HAL_GPIO_ReadPin(GPIOA, GPIO_PIN_11),delimiter);

  HAL_UART_Transmit(&huart1, oil_buf, 15,0xffff);cmd_end;
  HAL_UART_Transmit(&huart1, hv_buf, 15,0xffff);cmd_end;
  HAL_UART_Transmit(&huart1, lv_buf, 15,0xffff);cmd_end;
  HAL_UART_Transmit(&huart1, comp_ovp, 15,0xffff);cmd_end;

  HAL_UART_Transmit(&huart1, tub_buf, 15,0xffff);cmd_end;
  HAL_UART_Transmit(&huart1, fan_buf, 15,0xffff);cmd_end;
  HAL_UART_Transmit(&huart1, alarm_buf, 15,0xffff);cmd_end;
  HAL_UART_Transmit(&huart1, refri_buf, 15,0xffff);cmd_end;
  HAL_UART_Transmit(&huart1, refrez_buf, 15,0xffff);cmd_end;
  HAL_UART_Transmit(&huart1, comp_buf, 15,0xffff);cmd_end;
  HAL_UART_Transmit(&huart1, defrost_buf, 16,0xffff);cmd_end;

}

/* USER CODE END 4 */

void _Error_Handler(char * file, int line)
{
  while(1)
  {
  }
}

/************************ (C) COPYRIGHT STMicroelectronics *****END OF FILE****/
